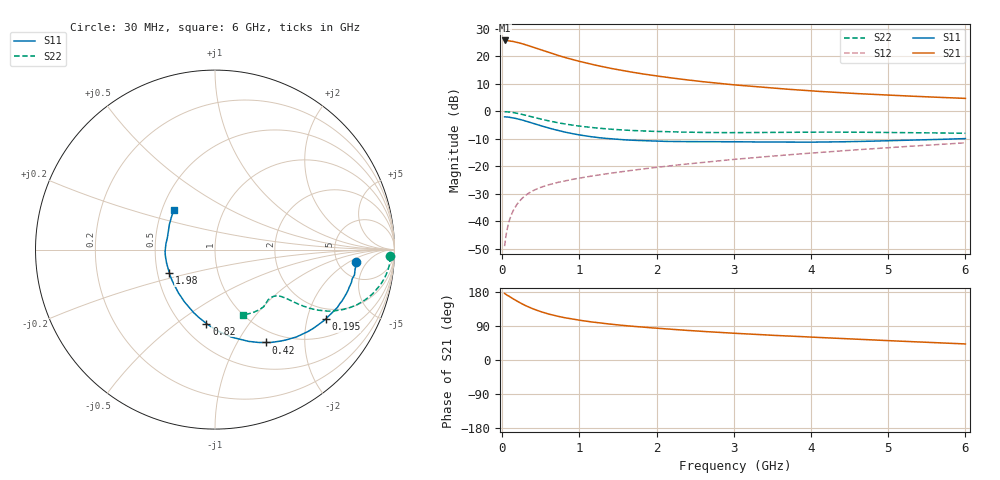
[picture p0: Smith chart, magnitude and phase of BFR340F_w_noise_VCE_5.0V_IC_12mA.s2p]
! Infineon Technologies  Discrete & RF Semiconductors
! BFR340F
! VCE =  5.0 V,  IC =  12 mA
! Common Emitter S-Parameters:  Nov 2015
# GHz  S  MA  R  50
!  f  S11  S21  S12  S22
! GHz  MAG  ANG  MAG  ANG  MAG  ANG  MAG  ANG
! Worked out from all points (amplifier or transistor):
!   206 points, 30 MHz to 6 GHz, reference 50 ohm
!   highest |S21| = 25.8 dB at 30 MHz (marker M1)
!   |S21| within 3 dB of that: start of sweep to 455 MHz
!   unconditionally stable (mu >= 1): 2.081 GHz to 4.937 GHz
!   at 200 MHz: K = 0.21, MSG = 29.3 dB, |S12| = -33.5 dB
!   at 1.56 GHz: K = 0.92, MSG = 18.4 dB, |S12| = -22.0 dB
!   at 6 GHz: K = 0.96, MSG = 8.1 dB, |S12| = -11.5 dB
!   lowest NFmin = 1.62 dB at 450 MHz
!   S11 on the Smith chart (normalised r, x): 30 MHz: 7.52, -2.70; 195 MHz: 1.59, -2.62; 420 MHz: 0.84, -1.33; 820 MHz: 0.65, -0.65; 1.98 GHz: 0.58, -0.17; 6 GHz: 0.58, +0.28
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0.03  0.7896 -4.9  19.41 175.6  0.0035 83.6  0.9779 -2.2
0.05  0.7883 -8.3  19.2 172.5  0.0057 86.1  0.9765 -3.9
0.07  0.782 -11.9  19.23 170.1  0.0079 84.9  0.9736 -5.7
0.12  0.7669 -20.3  18.79 164.1  0.0133 79.6  0.956 -9.8
0.195  0.7284 -32.0  17.88 154.9  0.0206 74.7  0.9155 -15.2
0.26  0.6898 -41.5  16.91 147.7  0.0262 70.9  0.8736 -19.2
0.3  0.6653 -47.0  16.25 143.6  0.0293 68.9  0.8463 -21.4
0.36  0.627 -54.4  15.25 138.2  0.0334 66.4  0.8056 -24.0
0.42  0.5905 -61.2  14.28 133.3  0.037 64.5  0.7669 -26.1
0.5  0.545 -69.8  13.08 127.5  0.0413 62.5  0.7189 -28.5
0.6  0.4963 -79.3  11.74 121.3  0.0458 60.9  0.6673 -30.4
0.7  0.4548 -87.8  10.59 116.2  0.0499 60.1  0.6243 -31.7
0.82  0.4145 -96.6  9.441 111.2  0.0544 59.8  0.5832 -32.6
1.04  0.3626 -111.0  7.826 103.8  0.0621 60.0  0.5273 -33.6
1.22  0.3344 -121.4  6.833 98.8  0.0682 60.7  0.495 -34.2
1.46  0.31 -132.9  5.833 93.4  0.0763 61.8  0.4652 -34.9
1.98  0.2859 -152.6  4.426 84.2  0.0946 64.1  0.4296 -36.8
2.02  0.2847 -153.8  4.346 83.5  0.096 64.3  0.4281 -37.0
3.1  0.2774 -179.2  2.942 69.6  0.1366 66.8  0.4082 -43.9
4.1  0.2744 164.2  2.299 59.5  0.1773 67.3  0.4176 -50.2
5.1  0.2926 149.4  1.936 50.2  0.2216 66.4  0.4095 -58.6
6  0.3177 136.6  1.712 42.4  0.266 64.9  0.3965 -67.2
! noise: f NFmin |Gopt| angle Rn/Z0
0.45  1.62  0.17  -3  0.26
0.9  1.82  0.15  6  0.31
1.9  2.52  0.09  -101  0.34
2.4  2.96  0.14  -129  0.33
